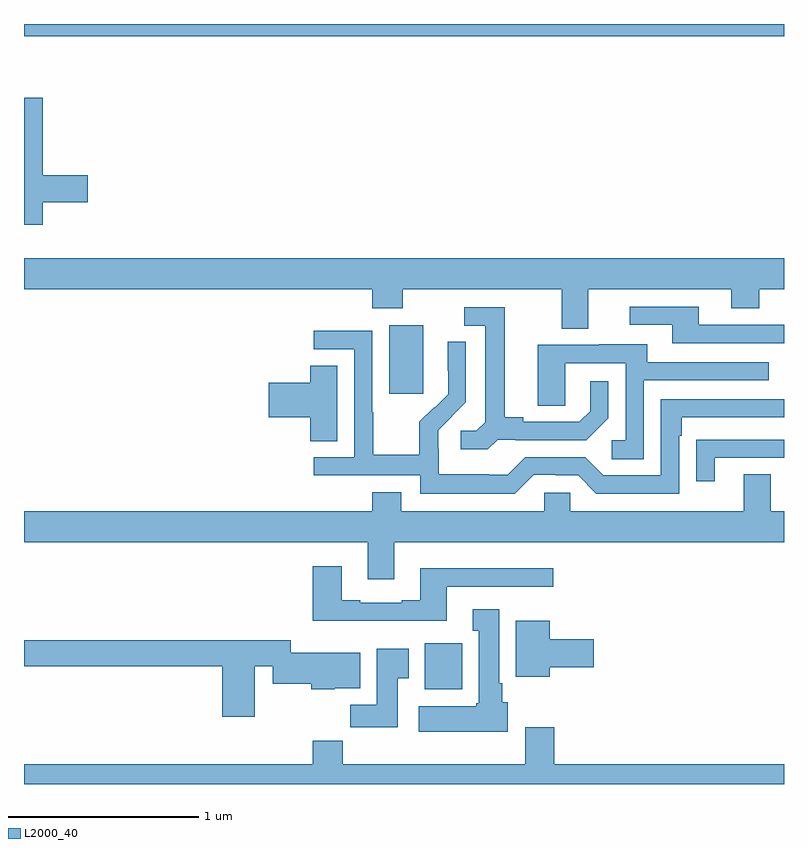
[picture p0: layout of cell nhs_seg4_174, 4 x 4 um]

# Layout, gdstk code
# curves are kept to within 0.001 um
import gdstk
lib = gdstk.Library(unit=1e-6, precision=1e-09)
def R(c, l, rs):  # rectangles x0, y0, x1, y1
    for r in rs: c.add(gdstk.rectangle(r[:2], r[2:], *l))
def P(c, l, *ps):  # polygons
    for p in ps: c.add(gdstk.Polygon(p, *l))
L2000_40 = (2000, 40)

nhs_seg4_174 = lib.new_cell('nhs_seg4_174')
R(nhs_seg4_174, L2000_40, [(121.109,777.398,121.306,777.64), (120.923,778.953,121.102,779.314), (119,780.836,123,780.9)])
P(nhs_seg4_174, L2000_40, [(119.099,779.962),(119.335,779.962),(119.335,780.104),(119.099,780.104),(119.099,780.511),(119,780.511),(119,779.844),(119.099,779.844)],
  [(121.969,779.504),(122.723,779.504),(122.723,779.405),(122.871,779.405),(122.871,779.504),(123,779.504),(123,779.668),(119,779.668),(119,779.504),(120.833,779.504),(120.833,779.405),(120.993,779.405),(120.993,779.504),(121.829,779.504),(121.829,779.296),(121.969,779.296)],
  [(123,779.316),(122.551,779.316),(122.551,779.412),(122.187,779.412),(122.187,779.316),(122.411,779.316),(122.411,779.22),(123,779.22)],
  [(121.494,778.713),(121.588,778.713),(121.588,778.71),(121.96,778.71),(122.076,778.826),(122.076,779.02),(121.979,779.02),(121.979,778.863),(121.922,778.806),(121.627,778.806),(121.627,778.829),(121.531,778.829),(121.531,779.409),(121.317,779.409),(121.317,779.313),(121.427,779.313),(121.427,778.805),(121.38,778.758),(121.299,778.758),(121.299,778.661),(121.442,778.661)],
  [(121.683,778.527),(121.799,778.527),(121.799,778.524),(121.917,778.524),(122.013,778.428),(122.448,778.428),(122.448,778.733),(122.461,778.733),(122.461,778.83),(123,778.83),(123,778.926),(122.352,778.926),(122.352,778.524),(122.049,778.524),(121.953,778.62),(121.638,778.62),(121.545,778.527),(121.445,778.527),(121.445,778.531),(121.182,778.531),(121.182,778.665),(121.18,778.665),(121.18,778.762),(121.326,778.91),(121.326,779.228),(121.23,779.228),(121.23,779.074),(121.232,779.074),(121.232,778.952),(121.161,778.881),(121.158,778.884),(121.081,778.807),(121.081,778.633),(120.837,778.633),(120.837,778.856),(120.834,778.856),(120.834,779.286),(120.525,779.286),(120.525,779.187),(120.738,779.187),(120.738,778.62),(120.525,778.62),(120.525,778.524),(121.086,778.524),(121.086,778.427),(121.583,778.427)],
  [(122.262,779.025),(122.921,779.025),(122.921,779.121),(122.281,779.121),(122.281,779.215),(122.027,779.215),(122.027,779.211),(121.703,779.211),(121.703,778.891),(121.848,778.891),(121.848,779.115),(122.166,779.115),(122.166,778.71),(122.094,778.71),(122.094,778.609),(122.262,778.609)],
  [(120.649,779.102),(120.506,779.102),(120.506,779.012),(120.288,779.012),(120.288,778.829),(120.506,778.829),(120.506,778.705),(120.649,778.705)],
  [(122.635,778.617),(123,778.617),(123,778.713),(122.641,778.713),(122.641,778.712),(122.539,778.712),(122.539,778.494),(122.635,778.494)],
  [(120.949,778.172),(123,778.172),(123,778.336),(122.929,778.336),(122.929,778.531),(122.789,778.531),(122.789,778.336),(121.875,778.336),(121.875,778.434),(121.737,778.434),(121.737,778.336),(120.985,778.336),(120.985,778.435),(120.833,778.435),(120.833,778.336),(119,778.336),(119,778.172),(120.809,778.172),(120.809,777.978),(120.949,777.978)],
  [(121.225,777.939),(121.786,777.939),(121.786,778.036),(121.085,778.036),(121.085,777.868),(120.989,777.868),(120.989,777.855),(120.769,777.855),(120.769,777.868),(120.673,777.868),(120.673,778.045),(120.521,778.045),(120.521,777.758),(121.225,777.758)],
  [(121.546,777.33),(121.516,777.33),(121.516,777.43),(121.501,777.43),(121.501,777.82),(121.361,777.82),(121.361,777.707),(121.394,777.707),(121.394,777.324),(121.381,777.324),(121.381,777.31),(121.077,777.31),(121.077,777.176),(121.546,777.176)],
  [(121.768,777.515),(121.999,777.515),(121.999,777.662),(121.768,777.662),(121.768,777.76),(121.589,777.76),(121.589,777.464),(121.768,777.464)],
  [(120.214,777.52),(120.309,777.52),(120.309,777.428),(120.511,777.428),(120.511,777.398),(120.636,777.398),(120.636,777.404),(120.769,777.404),(120.769,777.592),(120.405,777.592),(120.405,777.656),(119,777.656),(119,777.52),(120.044,777.52),(120.044,777.255),(120.214,777.255)],
  [(120.967,777.457),(121.024,777.457),(121.024,777.613),(120.857,777.613),(120.857,777.316),(120.718,777.316),(120.718,777.198),(120.967,777.198)],
  [(123,777.004),(121.79,777.004),(121.79,777.199),(121.637,777.199),(121.637,777.004),(120.677,777.004),(120.677,777.128),(120.521,777.128),(120.521,777.004),(119,777.004),(119,776.9),(123,776.9)])

lib.write_gds('nhs_seg4_174.gds')
